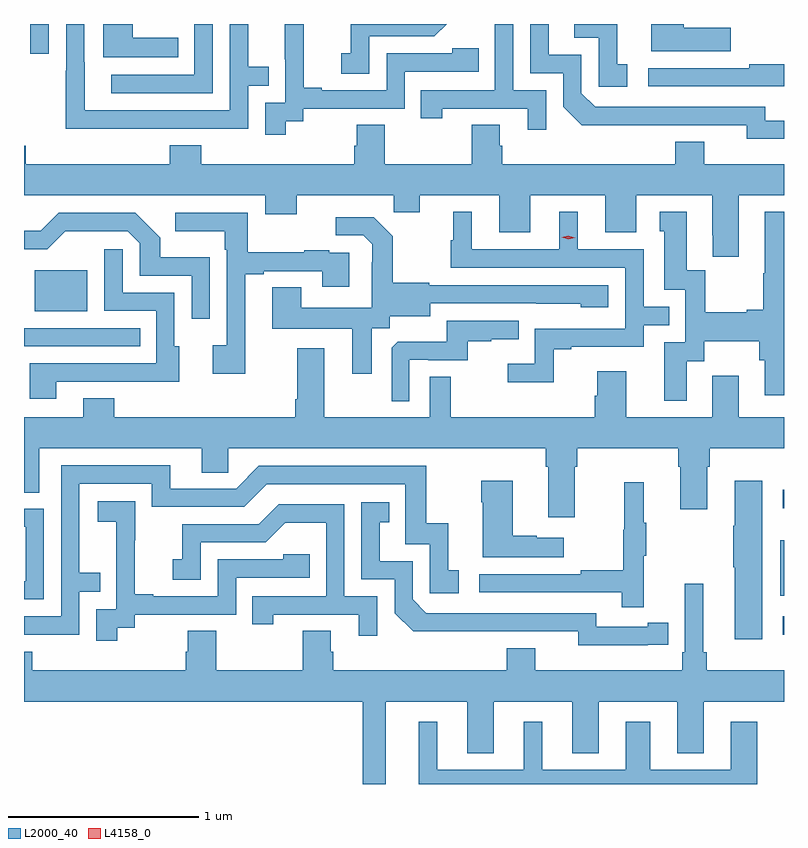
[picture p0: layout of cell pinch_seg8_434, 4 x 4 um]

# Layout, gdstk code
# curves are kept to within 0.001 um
import gdstk
lib = gdstk.Library(unit=1e-6, precision=1e-09)
def R(c, l, rs):  # rectangles x0, y0, x1, y1
    for r in rs: c.add(gdstk.rectangle(r[:2], r[2:], *l))
def P(c, l, *ps):  # polygons
    for p in ps: c.add(gdstk.Polygon(p, *l))
L2000_40 = (2000, 40)
L4158_0 = (4158, 0)

pinch_seg8_434 = lib.new_cell('pinch_seg8_434')
R(pinch_seg8_434, L2000_40, [(327.207,1135.499,327.214,1135.596), (327.194,1135.706,327.214,1135.996), (327.207,1136.166,327.214,1136.262), (323.214,1137.018,323.825,1137.114), (323.27,1137.203,323.548,1137.418), (323.247,1138.557,323.343,1138.714)])
P(pinch_seg8_434, L2000_40, [(327.214,1138.206),(327.114,1138.206),(327.114,1138.278),(326.22,1138.278),(326.148,1138.35),(326.148,1138.551),(325.975,1138.551),(325.975,1138.714),(325.878,1138.714),(325.878,1138.455),(326.052,1138.455),(326.052,1138.278),(326.15,1138.181),(327.018,1138.182),(327.018,1138.109),(327.214,1138.109)],
  [(324.207,1138.714),(324.111,1138.714),(324.111,1138.446),(323.673,1138.446),(323.673,1138.35),(324.207,1138.35)],
  [(325.032,1138.65),(325.374,1138.65),(325.438,1138.714),(324.934,1138.714),(324.934,1138.561),(324.885,1138.561),(324.885,1138.452),(325.032,1138.452)],
  [(325.962,1138.365),(325.788,1138.365),(325.788,1138.714),(325.692,1138.714),(325.692,1138.365),(325.303,1138.365),(325.303,1138.218),(325.414,1138.218),(325.414,1138.269),(325.865,1138.269),(325.865,1138.158),(325.962,1138.158)],
  [(326.389,1138.503),(326.336,1138.503),(326.336,1138.714),(326.109,1138.714),(326.109,1138.641),(326.238,1138.641),(326.238,1138.383),(326.389,1138.383)],
  [(323.897,1138.164),(324.393,1138.164),(324.393,1138.389),(324.503,1138.389),(324.503,1138.49),(324.393,1138.49),(324.393,1138.714),(324.297,1138.714),(324.297,1138.26),(323.533,1138.26),(323.533,1138.514),(323.532,1138.514),(323.532,1138.714),(323.436,1138.714),(323.436,1138.469),(323.434,1138.469),(323.434,1138.163),(323.897,1138.163)],
  [(326.935,1138.693),(326.687,1138.693),(326.687,1138.714),(326.516,1138.714),(326.516,1138.571),(326.935,1138.571)],
  [(324.592,1138.201),(324.684,1138.201),(324.684,1138.269),(325.218,1138.269),(325.218,1138.464),(325.607,1138.464),(325.607,1138.587),(325.467,1138.587),(325.467,1138.56),(325.122,1138.56),(325.122,1138.365),(324.781,1138.365),(324.781,1138.378),(324.686,1138.378),(324.686,1138.661),(324.687,1138.661),(324.687,1138.714),(324.587,1138.714),(324.587,1138.529),(324.588,1138.529),(324.588,1138.299),(324.483,1138.299),(324.483,1138.131),(324.592,1138.131)],
  [(324.026,1138.642),(323.787,1138.642),(323.787,1138.714),(323.63,1138.714),(323.63,1138.538),(324.026,1138.538)],
  [(327.214,1138.502),(327.031,1138.502),(327.031,1138.482),(326.499,1138.482),(326.499,1138.386),(327.214,1138.386)],
  [(326.977,1137.812),(327.214,1137.812),(327.214,1137.976),(326.794,1137.976),(326.794,1138.093),(326.642,1138.093),(326.642,1137.976),(325.73,1137.976),(325.73,1138.074),(325.717,1138.074),(325.717,1138.184),(325.57,1138.184),(325.57,1137.976),(325.113,1137.976),(325.113,1138.184),(324.965,1138.184),(324.965,1138.074),(324.953,1138.074),(324.953,1137.976),(324.146,1137.976),(324.146,1138.075),(323.981,1138.075),(323.981,1137.976),(323.222,1137.976),(323.222,1138.072),(323.214,1138.072),(323.214,1137.812),(324.485,1137.812),(324.485,1137.713),(324.649,1137.713),(324.649,1137.812),(325.159,1137.812),(325.159,1137.722),(325.297,1137.722),(325.297,1137.812),(325.715,1137.812),(325.715,1137.618),(325.879,1137.618),(325.879,1137.812),(326.273,1137.812),(326.273,1137.618),(326.437,1137.618),(326.437,1137.812),(326.837,1137.812),(326.837,1137.601),(326.84,1137.601),(326.84,1137.489),(326.977,1137.489)],
  [(326.001,1137.003),(326.095,1137.003),(326.095,1137.015),(326.475,1137.015),(326.475,1137.129),(326.609,1137.129),(326.609,1137.225),(326.475,1137.225),(326.475,1137.528),(326.128,1137.528),(326.128,1137.727),(326.03,1137.727),(326.03,1137.528),(325.57,1137.528),(325.57,1137.727),(325.472,1137.727),(325.472,1137.576),(325.461,1137.576),(325.461,1137.432),(326.379,1137.432),(326.379,1137.111),(325.902,1137.111),(325.902,1136.926),(325.761,1136.926),(325.761,1136.828),(326.001,1136.828)],
  [(326.701,1136.938),(326.795,1136.938),(326.795,1137.044),(327.083,1137.044),(327.083,1136.945),(327.113,1136.945),(327.113,1136.76),(327.214,1136.76),(327.214,1137.727),(327.113,1137.727),(327.113,1137.401),(327.106,1137.401),(327.106,1137.209),(327.017,1137.209),(327.017,1137.196),(326.799,1137.196),(326.799,1137.419),(326.701,1137.419),(326.701,1137.727),(326.561,1137.727),(326.561,1137.624),(326.585,1137.624),(326.585,1137.315),(326.694,1137.315),(326.694,1137.039),(326.585,1137.039),(326.585,1136.73),(326.701,1136.73)],
  [(324.192,1137.487),(323.931,1137.487),(323.931,1137.59),(323.8,1137.72),(323.397,1137.72),(323.303,1137.626),(323.214,1137.626),(323.214,1137.528),(323.337,1137.528),(323.432,1137.623),(323.76,1137.624),(323.823,1137.561),(323.823,1137.39),(324.096,1137.39),(324.096,1137.162),(324.192,1137.162)],
  [(324.379,1137.396),(324.475,1137.396),(324.475,1137.414),(324.785,1137.414),(324.785,1137.33),(324.925,1137.33),(324.925,1137.51),(324.821,1137.51),(324.821,1137.523),(324.689,1137.523),(324.689,1137.512),(324.391,1137.512),(324.391,1137.72),(324.009,1137.72),(324.009,1137.623),(324.27,1137.623),(324.27,1137.527),(324.282,1137.527),(324.282,1137.022),(324.207,1137.022),(324.207,1136.874),(324.379,1136.874)],
  [(325.045,1137.112),(325.14,1137.112),(325.14,1137.176),(325.351,1137.176),(325.351,1137.243),(326.145,1137.242),(326.145,1137.224),(326.29,1137.224),(326.29,1137.339),(325.347,1137.339),(325.347,1137.352),(325.155,1137.352),(325.155,1137.597),(325.055,1137.697),(324.855,1137.697),(324.855,1137.603),(324.999,1137.603),(325.046,1137.556),(325.046,1137.461),(325.044,1137.461),(325.044,1137.22),(324.673,1137.22),(324.673,1137.329),(324.521,1137.329),(324.521,1137.11),(324.941,1137.11),(324.941,1136.874),(325.045,1136.874)],
  [(323.383,1136.832),(323.813,1136.832),(323.813,1136.831),(324.031,1136.831),(324.031,1137.018),(324.006,1137.018),(324.006,1137.3),(323.733,1137.3),(323.733,1137.529),(323.637,1137.529),(323.637,1137.204),(323.91,1137.204),(323.91,1136.928),(323.243,1136.928),(323.243,1136.742),(323.383,1136.742)],
  [(325.242,1136.946),(325.342,1136.946),(325.342,1136.943),(325.55,1136.943),(325.55,1137.045),(325.673,1137.045),(325.673,1137.056),(325.817,1137.056),(325.817,1137.153),(325.44,1137.153),(325.44,1137.041),(325.181,1137.041),(325.149,1137.009),(325.149,1136.729),(325.242,1136.729)],
  [(326.113,1136.384),(326.126,1136.384),(326.126,1136.48),(326.657,1136.48),(326.657,1136.384),(326.669,1136.384),(326.669,1136.16),(326.809,1136.16),(326.809,1136.384),(326.822,1136.384),(326.822,1136.48),(327.214,1136.48),(327.214,1136.644),(326.977,1136.644),(326.977,1136.863),(326.837,1136.863),(326.837,1136.644),(326.383,1136.644),(326.383,1136.887),(326.231,1136.887),(326.231,1136.757),(326.219,1136.757),(326.219,1136.644),(325.459,1136.644),(325.459,1136.858),(325.35,1136.858),(325.35,1136.644),(324.793,1136.644),(324.793,1137.007),(324.653,1137.007),(324.653,1136.74),(324.641,1136.74),(324.641,1136.644),(323.689,1136.644),(323.689,1136.743),(323.525,1136.743),(323.525,1136.644),(323.214,1136.644),(323.214,1136.248),(323.293,1136.248),(323.293,1136.48),(324.149,1136.48),(324.149,1136.353),(324.288,1136.353),(324.288,1136.48),(325.961,1136.48),(325.961,1136.384),(325.973,1136.384),(325.973,1136.118),(326.113,1136.118)],
  [(323.505,1135.725),(323.615,1135.725),(323.615,1135.826),(323.505,1135.826),(323.505,1136.295),(323.886,1136.295),(323.886,1136.172),(324.372,1136.172),(324.492,1136.292),(325.221,1136.292),(325.221,1135.977),(325.35,1135.977),(325.35,1135.719),(325.501,1135.719),(325.501,1135.839),(325.448,1135.839),(325.448,1136.086),(325.33,1136.086),(325.33,1136.388),(324.45,1136.388),(324.33,1136.268),(323.983,1136.268),(323.983,1136.391),(323.409,1136.391),(323.409,1135.596),(323.214,1135.596),(323.214,1135.5),(323.505,1135.5)],
  [(326.056,1136.011),(325.913,1136.011),(325.913,1136.021),(325.786,1136.021),(325.786,1136.311),(325.621,1136.311),(325.621,1136.198),(325.628,1136.198),(325.628,1135.907),(326.056,1135.907)],
  [(327.1,1136.311),(326.954,1136.311),(326.954,1136.072),(326.947,1136.072),(326.947,1135.855),(326.954,1135.855),(326.954,1135.476),(327.1,1135.476)],
  [(326.477,1135.915),(326.488,1135.915),(326.488,1136.089),(326.477,1136.089),(326.477,1136.302),(326.374,1136.302),(326.374,1136.052),(326.367,1136.052),(326.367,1135.838),(326.143,1135.838),(326.143,1135.818),(325.611,1135.818),(325.611,1135.722),(326.359,1135.722),(326.359,1135.644),(326.477,1135.644)],
  [(323.704,1135.537),(323.796,1135.537),(323.796,1135.605),(324.33,1135.605),(324.33,1135.8),(324.719,1135.8),(324.719,1135.923),(324.579,1135.923),(324.579,1135.896),(324.234,1135.896),(324.234,1135.701),(323.893,1135.701),(323.893,1135.714),(323.798,1135.714),(323.798,1135.997),(323.799,1135.997),(323.799,1136.203),(323.601,1136.203),(323.601,1136.093),(323.699,1136.093),(323.699,1135.865),(323.7,1135.865),(323.7,1135.635),(323.595,1135.635),(323.595,1135.467),(323.704,1135.467)],
  [(326.498,1135.446),(326.606,1135.446),(326.606,1135.562),(326.498,1135.562),(326.498,1135.542),(326.226,1135.542),(326.226,1135.614),(325.332,1135.614),(325.26,1135.686),(325.26,1135.887),(325.087,1135.887),(325.087,1136.091),(325.136,1136.091),(325.136,1136.197),(324.99,1136.197),(324.99,1135.791),(325.164,1135.791),(325.164,1135.614),(325.262,1135.517),(326.13,1135.518),(326.13,1135.445)],
  [(325.074,1135.701),(324.9,1135.701),(324.9,1136.187),(324.554,1136.187),(324.449,1136.082),(324.046,1136.082),(324.046,1135.897),(323.997,1135.897),(323.997,1135.788),(324.144,1135.788),(324.144,1135.986),(324.486,1135.986),(324.59,1136.09),(324.804,1136.09),(324.804,1135.701),(324.415,1135.701),(324.415,1135.554),(324.526,1135.554),(324.526,1135.605),(324.977,1135.605),(324.977,1135.494),(325.074,1135.494)],
  [(323.319,1136.163),(323.214,1136.163),(323.214,1136.067),(323.223,1136.067),(323.223,1135.782),(323.214,1135.782),(323.214,1135.686),(323.319,1135.686)],
  [(325.117,1135.148),(325.547,1135.148),(325.547,1134.875),(325.687,1134.875),(325.687,1135.148),(326.099,1135.148),(326.099,1134.875),(326.239,1134.875),(326.239,1135.148),(326.651,1135.148),(326.651,1134.875),(326.791,1134.875),(326.791,1135.148),(327.214,1135.148),(327.214,1135.312),(326.807,1135.312),(326.807,1135.408),(326.788,1135.408),(326.788,1135.768),(326.691,1135.768),(326.691,1135.408),(326.678,1135.408),(326.678,1135.312),(325.906,1135.312),(325.906,1135.429),(325.754,1135.429),(325.754,1135.312),(324.842,1135.312),(324.842,1135.41),(324.829,1135.41),(324.829,1135.52),(324.682,1135.52),(324.682,1135.312),(324.225,1135.312),(324.225,1135.52),(324.077,1135.52),(324.077,1135.41),(324.065,1135.41),(324.065,1135.312),(323.258,1135.312),(323.258,1135.411),(323.214,1135.411),(323.214,1135.148),(324.996,1135.148),(324.996,1134.714),(325.117,1134.714)],
  [(327.074,1135.042),(326.933,1135.042),(326.933,1134.79),(326.509,1134.79),(326.509,1135.042),(326.381,1135.042),(326.381,1134.79),(325.942,1134.79),(325.942,1135.042),(325.844,1135.042),(325.844,1134.79),(325.39,1134.79),(325.39,1135.042),(325.292,1135.042),(325.292,1134.714),(327.074,1134.714)])
P(pinch_seg8_434, L4158_0, [(326.079,1137.58),(326.043,1137.591),(326.043,1137.592),(326.043,1137.592),(326.079,1137.6),(326.115,1137.59),(326.115,1137.589),(326.115,1137.589)])

lib.write_gds('pinch_seg8_434.gds')
